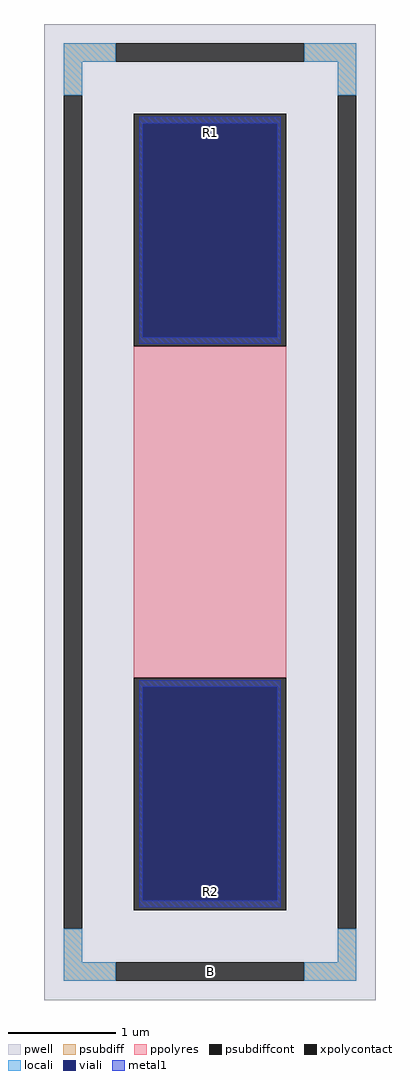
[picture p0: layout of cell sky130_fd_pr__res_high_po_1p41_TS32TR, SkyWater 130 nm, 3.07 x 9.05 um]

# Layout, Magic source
magic
tech sky130A
magscale 1 2
<< pwell >>
rect -307 -905 307 905
<< psubdiff >>
rect -271 835 -175 869
rect 175 835 271 869
rect -271 773 -237 835
rect 237 773 271 835
rect -271 -835 -237 -773
rect 237 -835 271 -773
rect -271 -869 -175 -835
rect 175 -869 271 -835
<< psubdiffcont >>
rect -175 835 175 869
rect -271 -773 -237 773
rect 237 -773 271 773
rect -175 -869 175 -835
<< xpolycontact >>
rect -141 307 141 739
rect -141 -739 141 -307
<< ppolyres >>
rect -141 -307 141 307
<< locali >>
rect -271 835 -175 869
rect 175 835 271 869
rect -271 773 -237 835
rect 237 773 271 835
rect -271 -835 -237 -773
rect 237 -835 271 -773
rect -271 -869 -175 -835
rect 175 -869 271 -835
<< viali >>
rect -125 324 125 721
rect -125 -721 125 -324
<< metal1 >>
rect -131 721 131 733
rect -131 324 -125 721
rect 125 324 131 721
rect -131 312 131 324
rect -131 -324 131 -312
rect -131 -721 -125 -324
rect 125 -721 131 -324
rect -131 -733 131 -721
<< labels >>
rlabel psubdiffcont 0 -852 0 -852 0 B
port 4 nsew
rlabel xpolycontact 0 704 0 704 0 R1
port 5 nsew
rlabel xpolycontact 0 -704 0 -704 0 R2
port 6 nsew
<< properties >>
string FIXED_BBOX -254 -852 254 852
string gencell sky130_fd_pr__res_high_po_1p41
string library sky130
string parameters w 1.41 l 3.23 m 1 nx 1 wmin 1.410 lmin 0.50 class resistor rho 319.8 val 1.008k dummy 0 dw 0.0 term 194.82 sterm 0.0 caplen 0 guard 1 glc 1 grc 1 gtc 1 gbc 1 compatible {sky130_fd_pr__res_high_po_0p35  sky130_fd_pr__res_high_po_0p69 sky130_fd_pr__res_high_po_1p41  sky130_fd_pr__res_high_po_2p85 sky130_fd_pr__res_high_po_5p73} snake 1 full_metal 1 wmax 1.410 n_guard 0 hv_guard 0 vias 1 viagb 0 viagt 0 viagl 0 viagr 0 doports 1
<< end >>
